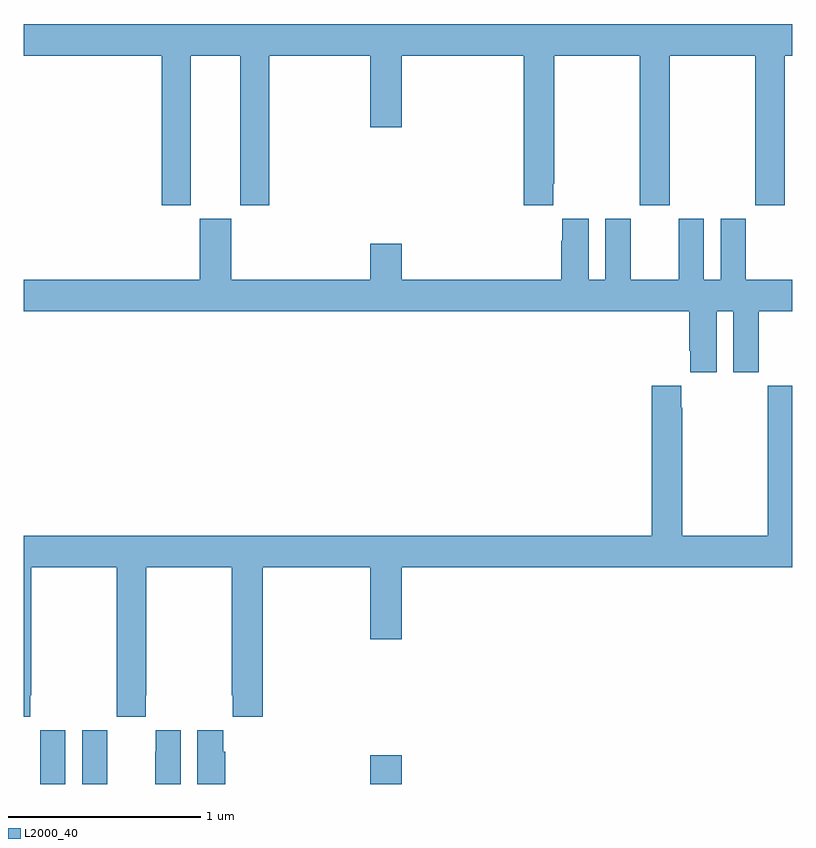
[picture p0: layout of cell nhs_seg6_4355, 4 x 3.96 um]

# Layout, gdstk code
import gdstk
lib = gdstk.Library(unit=1e-6, precision=1e-09)
def R(c, l, rs):  # rectangles x0, y0, x1, y1
    for r in rs: c.add(gdstk.rectangle(r[:2], r[2:], *l))
def P(c, l, *ps):  # polygons
    for p in ps: c.add(gdstk.Polygon(p, *l))
L2000_40 = (2000, 40)

nhs_seg6_4355 = lib.new_cell('nhs_seg6_4355')
R(nhs_seg6_4355, L2000_40, [(368.804,987.5,368.968,987.649)])
P(nhs_seg6_4355, L2000_40, [(367.87,991.292),(368.126,991.292),(368.126,990.513),(368.279,990.513),(368.279,991.292),(368.804,991.292),(368.804,990.918),(368.968,990.918),(368.968,991.292),(369.602,991.292),(369.602,990.513),(369.757,990.513),(369.757,990.625),(369.762,990.625),(369.762,991.292),(370.207,991.292),(370.207,990.513),(370.362,990.513),(370.362,991.292),(370.807,991.292),(370.807,990.513),(370.962,990.513),(370.962,991.292),(371,991.292),(371,991.456),(367,991.456),(367,991.292),(367.718,991.292),(367.718,990.513),(367.87,990.513)],
  [(370.606,989.96),(370.694,989.96),(370.694,989.643),(370.825,989.643),(370.825,989.96),(371,989.96),(371,990.124),(370.759,990.124),(370.759,990.442),(370.628,990.442),(370.628,990.124),(370.54,990.124),(370.54,990.442),(370.409,990.442),(370.409,990.124),(370.159,990.124),(370.159,990.442),(370.028,990.442),(370.028,990.124),(369.94,990.124),(369.94,990.442),(369.803,990.442),(369.803,990.329),(369.797,990.329),(369.797,990.124),(368.968,990.124),(368.968,990.313),(368.804,990.313),(368.804,990.124),(368.08,990.124),(368.08,990.441),(367.916,990.441),(367.916,990.124),(367,990.124),(367,989.96),(370.463,989.96),(370.463,989.755),(370.469,989.755),(370.469,989.643),(370.606,989.643)],
  [(367.035,987.961),(367.038,987.961),(367.038,988.628),(367.483,988.628),(367.483,987.961),(367.485,987.961),(367.485,987.849),(367.635,987.849),(367.635,987.961),(367.638,987.961),(367.638,988.628),(368.083,988.628),(368.083,987.961),(368.089,987.961),(368.089,987.849),(368.243,987.849),(368.243,988.628),(368.804,988.628),(368.804,988.254),(368.968,988.254),(368.968,988.628),(371,988.628),(371,989.572),(370.873,989.572),(370.873,988.792),(370.428,988.792),(370.428,989.459),(370.423,989.459),(370.423,989.572),(370.268,989.572),(370.268,988.792),(367,988.792),(367,987.849),(367.035,987.849)],
  [(367.216,987.781),(367.086,987.781),(367.086,987.668),(367.085,987.668),(367.085,987.5),(367.216,987.5)],
  [(368.048,987.668),(368.038,987.668),(368.038,987.781),(367.904,987.781),(367.904,987.5),(368.048,987.5)],
  [(367.435,987.668),(367.434,987.668),(367.434,987.781),(367.304,987.781),(367.304,987.5),(367.435,987.5)],
  [(367.816,987.781),(367.686,987.781),(367.686,987.668),(367.685,987.668),(367.685,987.5),(367.816,987.5)])

lib.write_gds('nhs_seg6_4355.gds')
